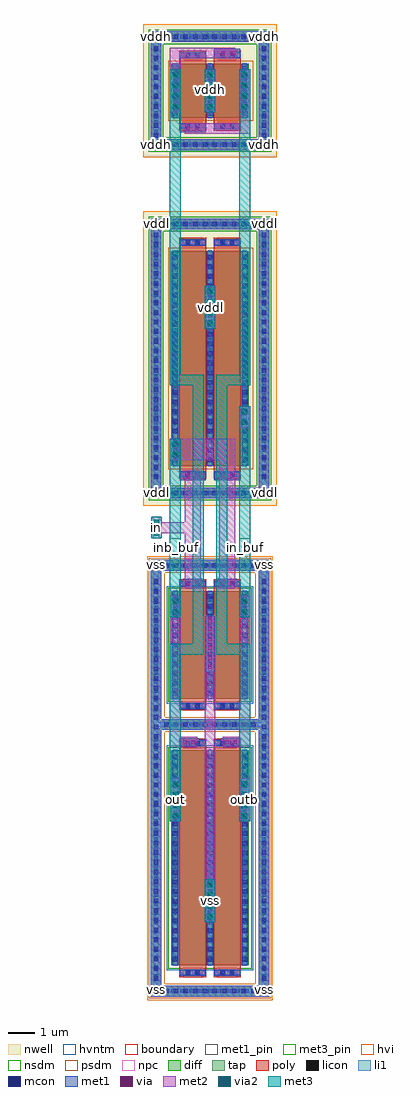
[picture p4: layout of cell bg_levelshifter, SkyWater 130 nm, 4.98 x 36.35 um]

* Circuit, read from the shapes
.subckt bg_levelshifter in in_buf inb_buf out outb vddh vddl vss
XM1 vss inb_buf out vss sky130_fd_pr__nfet_g5v0d10v5 w=8 l=1
XM2 vss in inb_buf vss sky130_fd_pr__nfet_g5v0d10v5 w=4 l=1
XM3 outb in_buf vss vss sky130_fd_pr__nfet_g5v0d10v5 w=8 l=1
XM4 in_buf inb_buf vss vss sky130_fd_pr__nfet_g5v0d10v5 w=4 l=1
XM5 vddl in inb_buf vddl sky130_fd_pr__pfet_g5v0d10v5 w=8 l=1
XM6 vddh outb out vddh sky130_fd_pr__pfet_g5v0d10v5 w=2 l=1
XM7 in_buf inb_buf vddl vddl sky130_fd_pr__pfet_g5v0d10v5 w=8 l=1
XM8 outb out vddh vddh sky130_fd_pr__pfet_g5v0d10v5 w=2 l=1
.ends

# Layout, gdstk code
from math import pi, radians
import gdstk
lib = gdstk.Library(unit=1e-6, precision=1e-09)
def R(c, l, rs):  # rectangles x0, y0, x1, y1
    for r in rs: c.add(gdstk.rectangle(r[:2], r[2:], *l))
def A(c, l, x, y, w, h, nx, ny, dx, dy):  # array of equal rectangles
    R(c, l, [(x+i*dx, y+j*dy, x+i*dx+w, y+j*dy+h) for i in range(nx) for j in range(ny)])
def P(c, l, *ps):  # polygons
    for p in ps: c.add(gdstk.Polygon(p, *l))
nwell = (64, 20)
diff = (65, 20)
tap = (65, 44)
poly = (66, 20)
licon = (66, 44)
li1 = (67, 20)
mcon = (67, 44)
met1_pin = (68, 16)
met1 = (68, 20)
via = (68, 44)
met2 = (69, 20)
via2 = (69, 44)
met3_pin = (70, 16)
met3 = (70, 20)
hvi = (75, 20)
nsdm = (93, 44)
psdm = (94, 20)
npc = (95, 20)
hvntm = (125, 20)
boundary = (235, 4)

sky130_fd_pr__nfet_g5v0d = lib.new_cell('sky130_fd_pr__nfet_g5v0d10v5_N3GJT8')
R(sky130_fd_pr__nfet_g5v0d, diff, [(0.91,1.295,3.78,9.295)])
R(sky130_fd_pr__nfet_g5v0d, tap, [(0.185,0.185,4.505,0.475), (0.185,0.475,0.475,10.115), (4.215,0.475,4.505,10.115), (0.185,10.115,4.505,10.405)])
R(sky130_fd_pr__nfet_g5v0d, poly, [(1.2,0.855,2.2,9.735), (2.49,0.855,3.49,9.735)])
A(sky130_fd_pr__nfet_g5v0d, licon, 0.9, 0.245, 0.17, 0.17, 9, 2, 0.34, 9.93)
A(sky130_fd_pr__nfet_g5v0d, licon, 0.245, 0.79, 0.17, 0.17, 1, 27, 0, 0.34)
A(sky130_fd_pr__nfet_g5v0d, licon, 4.275, 0.79, 0.17, 0.17, 1, 27, 0, 0.34)
A(sky130_fd_pr__nfet_g5v0d, licon, 0.97, 1.47, 0.17, 0.17, 3, 23, 1.29, 0.34)
R(sky130_fd_pr__nfet_g5v0d, licon, [(1.445,0.935,1.615,1.105), (1.785,0.935,1.955,1.105), (2.735,0.935,2.905,1.105), (3.075,0.935,3.245,1.105), (1.445,9.485,1.615,9.655), (1.785,9.485,1.955,9.655), (2.735,9.485,2.905,9.655), (3.075,9.485,3.245,9.655)])
A(sky130_fd_pr__nfet_g5v0d, li1, 0.97, 1.275, 0.17, 8.04, 3, 1, 1.29, 0)
R(sky130_fd_pr__nfet_g5v0d, li1, [(0.245,0.245,4.445,0.415), (0.245,0.415,0.415,10.175), (4.275,0.415,4.445,10.175), (1.2,0.935,2.2,1.105), (2.49,0.935,3.49,1.105), (1.2,9.485,2.2,9.655), (2.49,9.485,3.49,9.655), (0.245,10.175,4.445,10.345)])
A(sky130_fd_pr__nfet_g5v0d, mcon, 0.97, 1.43, 0.17, 0.17, 3, 22, 1.29, 0.36)
R(sky130_fd_pr__nfet_g5v0d, mcon, [(1.435,0.935,1.605,1.105), (1.795,0.935,1.965,1.105), (2.725,0.935,2.895,1.105), (3.085,0.935,3.255,1.105), (1.435,9.485,1.605,9.655), (1.795,9.485,1.965,9.655), (2.725,9.485,2.895,9.655), (3.085,9.485,3.255,9.655)])
A(sky130_fd_pr__nfet_g5v0d, met1, 0.94, 1.295, 0.23, 8, 3, 1, 1.29, 0)
R(sky130_fd_pr__nfet_g5v0d, met1, [(1.22,0.905,2.18,1.135), (2.51,0.905,3.47,1.135), (1.22,9.455,2.18,9.685), (2.51,9.455,3.47,9.685)])
R(sky130_fd_pr__nfet_g5v0d, hvi, [(0,0,4.69,10.59)])
R(sky130_fd_pr__nfet_g5v0d, nsdm, [(0.785,1.17,3.905,9.42)])
R(sky130_fd_pr__nfet_g5v0d, psdm, [(0.06,0.06,4.63,0.6), (0.06,0.6,0.655,9.99), (4.035,0.6,4.63,9.99), (0.06,9.99,4.63,10.53)])
R(sky130_fd_pr__nfet_g5v0d, npc, [(1.345,0.835,2.055,1.205), (2.635,0.835,3.345,1.205), (1.345,9.385,2.055,9.755), (2.635,9.385,3.345,9.755)])
R(sky130_fd_pr__nfet_g5v0d, hvntm, [(0.725,1.11,3.965,9.48)])
R(sky130_fd_pr__nfet_g5v0d, boundary, [(0.33,0.33,4.36,10.26)])

lvl_m1_m2 = lib.new_cell('lvl_m1_m2')
lvl_m1_m2.add(gdstk.Reference(sky130_fd_pr__nfet_g5v0d, (0,0)))

c_sky130_fd_pr__nfet_g5v0d = lib.new_cell('sky130_fd_pr__nfet_g5v0d10v5_6KUJGA')
R(c_sky130_fd_pr__nfet_g5v0d, diff, [(0.91,1.295,3.78,5.295)])
R(c_sky130_fd_pr__nfet_g5v0d, tap, [(0.185,0.185,4.505,0.475), (0.185,0.475,0.475,6.115), (4.215,0.475,4.505,6.115), (0.185,6.115,4.505,6.405)])
R(c_sky130_fd_pr__nfet_g5v0d, poly, [(1.2,0.855,2.2,5.735), (2.49,0.855,3.49,5.735)])
A(c_sky130_fd_pr__nfet_g5v0d, licon, 0.9, 0.245, 0.17, 0.17, 9, 2, 0.34, 5.93)
A(c_sky130_fd_pr__nfet_g5v0d, licon, 0.245, 0.83, 0.17, 0.17, 1, 15, 0, 0.34)
A(c_sky130_fd_pr__nfet_g5v0d, licon, 4.275, 0.83, 0.17, 0.17, 1, 15, 0, 0.34)
A(c_sky130_fd_pr__nfet_g5v0d, licon, 0.97, 1.51, 0.17, 0.17, 3, 11, 1.29, 0.34)
R(c_sky130_fd_pr__nfet_g5v0d, licon, [(1.445,0.935,1.615,1.105), (1.785,0.935,1.955,1.105), (2.735,0.935,2.905,1.105), (3.075,0.935,3.245,1.105), (1.445,5.485,1.615,5.655), (1.785,5.485,1.955,5.655), (2.735,5.485,2.905,5.655), (3.075,5.485,3.245,5.655)])
A(c_sky130_fd_pr__nfet_g5v0d, li1, 0.97, 1.275, 0.17, 4.04, 3, 1, 1.29, 0)
R(c_sky130_fd_pr__nfet_g5v0d, li1, [(0.245,0.245,4.445,0.415), (0.245,0.415,0.415,6.175), (4.275,0.415,4.445,6.175), (1.2,0.935,2.2,1.105), (2.49,0.935,3.49,1.105), (1.2,5.485,2.2,5.655), (2.49,5.485,3.49,5.655), (0.245,6.175,4.445,6.345)])
A(c_sky130_fd_pr__nfet_g5v0d, mcon, 0.97, 1.41, 0.17, 0.17, 3, 11, 1.29, 0.36)
R(c_sky130_fd_pr__nfet_g5v0d, mcon, [(1.435,0.935,1.605,1.105), (1.795,0.935,1.965,1.105), (2.725,0.935,2.895,1.105), (3.085,0.935,3.255,1.105), (1.435,5.485,1.605,5.655), (1.795,5.485,1.965,5.655), (2.725,5.485,2.895,5.655), (3.085,5.485,3.255,5.655)])
A(c_sky130_fd_pr__nfet_g5v0d, met1, 0.94, 1.295, 0.23, 4, 3, 1, 1.29, 0)
R(c_sky130_fd_pr__nfet_g5v0d, met1, [(1.22,0.905,2.18,1.135), (2.51,0.905,3.47,1.135), (1.22,5.455,2.18,5.685), (2.51,5.455,3.47,5.685)])
R(c_sky130_fd_pr__nfet_g5v0d, hvi, [(0,0,4.69,6.59)])
R(c_sky130_fd_pr__nfet_g5v0d, nsdm, [(0.785,1.17,3.905,5.42)])
R(c_sky130_fd_pr__nfet_g5v0d, psdm, [(0.06,0.06,4.63,0.6), (0.06,0.6,0.655,5.99), (4.035,0.6,4.63,5.99), (0.06,5.99,4.63,6.53)])
R(c_sky130_fd_pr__nfet_g5v0d, npc, [(1.345,0.835,2.055,1.205), (2.635,0.835,3.345,1.205), (1.345,5.385,2.055,5.755), (2.635,5.385,3.345,5.755)])
R(c_sky130_fd_pr__nfet_g5v0d, hvntm, [(0.725,1.11,3.965,5.48)])
R(c_sky130_fd_pr__nfet_g5v0d, boundary, [(0.33,0.33,4.36,6.26)])

lvl_mi1_mi2 = lib.new_cell('lvl_mi1_mi2')
lvl_mi1_mi2.add(gdstk.Reference(c_sky130_fd_pr__nfet_g5v0d, (0,0)))

via__li_m1 = lib.new_cell('via__LI_M1')
R(via__li_m1, li1, [(0.03,0.03,0.56,0.2)])
R(via__li_m1, mcon, [(0.03,0.03,0.2,0.2), (0.39,0.03,0.56,0.2)])
R(via__li_m1, met1, [(0,0,0.59,0.23)])

via__m1_m2 = lib.new_cell('via__M1_M2')
R(via__m1_m2, met1, [(0,0.05,0.7,0.35)])
R(via__m1_m2, via, [(0.115,0.125,0.265,0.275), (0.435,0.125,0.585,0.275)])
R(via__m1_m2, met2, [(0.05,0,0.65,0.4)])

via__m2_m3 = lib.new_cell('via__M2_M3')
R(via__m2_m3, met2, [(0,0,0.8,0.4)])
R(via__m2_m3, via2, [(0.1,0.1,0.3,0.3), (0.1,0.1,0.3,0.3), (0.5,0.1,0.7,0.3), (0.5,0.1,0.7,0.3)])
R(via__m2_m3, met3, [(0,0,0.8,0.4)])

sky130_fd_pr__pfet_g5v0d = lib.new_cell('sky130_fd_pr__pfet_g5v0d10v5_2EL6HB')
R(sky130_fd_pr__pfet_g5v0d, nwell, [(0,0,4.98,10.97)])
R(sky130_fd_pr__pfet_g5v0d, diff, [(1.055,1.485,3.925,9.485)])
R(sky130_fd_pr__pfet_g5v0d, tap, [(0.33,0.33,4.65,0.62), (0.33,0.62,0.62,10.35), (4.36,0.62,4.65,10.35), (0.33,10.35,4.65,10.64)])
R(sky130_fd_pr__pfet_g5v0d, poly, [(1.345,1,2.345,9.97), (2.635,1,3.635,9.97)])
A(sky130_fd_pr__pfet_g5v0d, licon, 1.045, 0.39, 0.17, 0.17, 9, 2, 0.34, 10.02)
A(sky130_fd_pr__pfet_g5v0d, licon, 0.39, 0.98, 0.17, 0.17, 1, 27, 0, 0.34)
A(sky130_fd_pr__pfet_g5v0d, licon, 4.42, 0.98, 0.17, 0.17, 1, 27, 0, 0.34)
A(sky130_fd_pr__pfet_g5v0d, licon, 1.115, 1.66, 0.17, 0.17, 3, 23, 1.29, 0.34)
R(sky130_fd_pr__pfet_g5v0d, licon, [(1.59,1.08,1.76,1.25), (1.93,1.08,2.1,1.25), (2.88,1.08,3.05,1.25), (3.22,1.08,3.39,1.25), (1.59,9.72,1.76,9.89), (1.93,9.72,2.1,9.89), (2.88,9.72,3.05,9.89), (3.22,9.72,3.39,9.89)])
A(sky130_fd_pr__pfet_g5v0d, li1, 1.115, 1.465, 0.17, 8.04, 3, 1, 1.29, 0)
R(sky130_fd_pr__pfet_g5v0d, li1, [(0.39,0.39,4.59,0.56), (0.39,0.56,0.56,10.41), (4.42,0.56,4.59,10.41), (1.345,1.08,2.345,1.25), (2.635,1.08,3.635,1.25), (1.345,9.72,2.345,9.89), (2.635,9.72,3.635,9.89), (0.39,10.41,4.59,10.58)])
A(sky130_fd_pr__pfet_g5v0d, mcon, 1.115, 1.62, 0.17, 0.17, 3, 22, 1.29, 0.36)
R(sky130_fd_pr__pfet_g5v0d, mcon, [(1.58,1.08,1.75,1.25), (1.94,1.08,2.11,1.25), (2.87,1.08,3.04,1.25), (3.23,1.08,3.4,1.25), (1.58,9.72,1.75,9.89), (1.94,9.72,2.11,9.89), (2.87,9.72,3.04,9.89), (3.23,9.72,3.4,9.89)])
A(sky130_fd_pr__pfet_g5v0d, met1, 1.085, 1.485, 0.23, 8, 3, 1, 1.29, 0)
R(sky130_fd_pr__pfet_g5v0d, met1, [(1.365,1.05,2.325,1.28), (2.655,1.05,3.615,1.28), (1.365,9.69,2.325,9.92), (2.655,9.69,3.615,9.92)])
R(sky130_fd_pr__pfet_g5v0d, hvi, [(0,0,4.98,10.97)])
R(sky130_fd_pr__pfet_g5v0d, nsdm, [(0.205,0.205,4.775,0.745), (0.205,0.745,0.745,10.225), (4.235,0.745,4.775,10.225), (0.205,10.225,4.775,10.765)])
R(sky130_fd_pr__pfet_g5v0d, psdm, [(0.93,1.36,4.105,9.61)])
R(sky130_fd_pr__pfet_g5v0d, npc, [(1.49,0.98,2.2,1.35), (2.78,0.98,3.49,1.35), (1.49,9.62,2.2,9.99), (2.78,9.62,3.49,9.99)])
R(sky130_fd_pr__pfet_g5v0d, boundary, [(0.475,0.475,4.505,10.495)])

lvl_mi3_mi4 = lib.new_cell('lvl_mi3_mi4')
lvl_mi3_mi4.add(gdstk.Reference(sky130_fd_pr__pfet_g5v0d, (0,0)))

c_sky130_fd_pr__pfet_g5v0d = lib.new_cell('sky130_fd_pr__pfet_g5v0d10v5_PSLN99')
R(c_sky130_fd_pr__pfet_g5v0d, nwell, [(0,0,4.98,4.97)])
R(c_sky130_fd_pr__pfet_g5v0d, diff, [(1.055,1.485,3.925,3.485)])
R(c_sky130_fd_pr__pfet_g5v0d, tap, [(0.33,0.33,4.65,0.62), (0.33,0.62,0.62,4.35), (4.36,0.62,4.65,4.35), (0.33,4.35,4.65,4.64)])
R(c_sky130_fd_pr__pfet_g5v0d, poly, [(1.345,1,2.345,3.97), (2.635,1,3.635,3.97)])
A(c_sky130_fd_pr__pfet_g5v0d, licon, 1.045, 0.39, 0.17, 0.17, 9, 2, 0.34, 4.02)
A(c_sky130_fd_pr__pfet_g5v0d, licon, 0.39, 0.87, 0.17, 0.17, 1, 10, 0, 0.34)
A(c_sky130_fd_pr__pfet_g5v0d, licon, 4.42, 0.87, 0.17, 0.17, 1, 10, 0, 0.34)
A(c_sky130_fd_pr__pfet_g5v0d, licon, 1.115, 1.55, 0.17, 0.17, 3, 6, 1.29, 0.34)
R(c_sky130_fd_pr__pfet_g5v0d, licon, [(1.59,1.08,1.76,1.25), (1.93,1.08,2.1,1.25), (2.88,1.08,3.05,1.25), (3.22,1.08,3.39,1.25), (1.59,3.72,1.76,3.89), (1.93,3.72,2.1,3.89), (2.88,3.72,3.05,3.89), (3.22,3.72,3.39,3.89)])
A(c_sky130_fd_pr__pfet_g5v0d, li1, 1.115, 1.465, 0.17, 2.04, 3, 1, 1.29, 0)
R(c_sky130_fd_pr__pfet_g5v0d, li1, [(0.39,0.39,4.59,0.56), (0.39,0.56,0.56,4.41), (4.42,0.56,4.59,4.41), (1.345,1.08,2.345,1.25), (2.635,1.08,3.635,1.25), (1.345,3.72,2.345,3.89), (2.635,3.72,3.635,3.89), (0.39,4.41,4.59,4.58)])
A(c_sky130_fd_pr__pfet_g5v0d, mcon, 1.115, 1.68, 0.17, 0.17, 3, 5, 1.29, 0.36)
R(c_sky130_fd_pr__pfet_g5v0d, mcon, [(1.58,1.08,1.75,1.25), (1.94,1.08,2.11,1.25), (2.87,1.08,3.04,1.25), (3.23,1.08,3.4,1.25), (1.58,3.72,1.75,3.89), (1.94,3.72,2.11,3.89), (2.87,3.72,3.04,3.89), (3.23,3.72,3.4,3.89)])
A(c_sky130_fd_pr__pfet_g5v0d, met1, 1.085, 1.485, 0.23, 2, 3, 1, 1.29, 0)
R(c_sky130_fd_pr__pfet_g5v0d, met1, [(1.365,1.05,2.325,1.28), (2.655,1.05,3.615,1.28), (1.365,3.69,2.325,3.92), (2.655,3.69,3.615,3.92)])
R(c_sky130_fd_pr__pfet_g5v0d, hvi, [(0,0,4.98,4.97)])
R(c_sky130_fd_pr__pfet_g5v0d, nsdm, [(0.205,0.205,4.775,0.745), (0.205,0.745,0.745,4.225), (4.235,0.745,4.775,4.225), (0.205,4.225,4.775,4.765)])
R(c_sky130_fd_pr__pfet_g5v0d, psdm, [(0.93,1.36,4.105,3.61)])
R(c_sky130_fd_pr__pfet_g5v0d, npc, [(1.49,0.98,2.2,1.35), (2.78,0.98,3.49,1.35), (1.49,3.62,2.2,3.99), (2.78,3.62,3.49,3.99)])
R(c_sky130_fd_pr__pfet_g5v0d, boundary, [(0.475,0.475,4.505,4.495)])

lvl_m3_m4 = lib.new_cell('lvl_m3_m4')
lvl_m3_m4.add(gdstk.Reference(c_sky130_fd_pr__pfet_g5v0d, (0,0)))

bg_levelshifter = lib.new_cell('bg_levelshifter')
R(bg_levelshifter, met1_pin, [(0.275,0.13,0.675,0.53), (4.305,0.13,4.705,0.53), (0.275,15.99,0.675,16.39), (4.305,15.99,4.705,16.39), (0.275,18.685,0.675,19.085), (4.305,18.685,4.705,19.085), (0.275,28.705,0.675,29.105), (4.305,28.705,4.705,29.105), (0.28,31.655,0.68,32.055), (4.305,31.655,4.705,32.055), (0.28,35.68,0.68,36.08), (4.305,35.68,4.705,36.08)])
A(bg_levelshifter, met1, 1.05, 33.12, 0.3, 1.5, 3, 1, 1.29, 0)
R(bg_levelshifter, met1, [(2.34,2.955,2.64,4.45), (1.05,6.7,1.35,8.2), (3.63,6.7,3.93,8.2), (1.365,19.36,2.325,19.69), (2.655,19.36,3.615,19.69), (2.34,25.055,2.64,26.555), (1.365,32.31,2.325,32.66), (2.655,35.07,3.615,35.42)])
R(bg_levelshifter, met2, [(2.29,2.905,2.69,14.27), (1.545,15.735,2.145,19.31), (2.835,15.735,3.435,19.31), (2.835,19.31,3.435,20.91), (1,20.11,3.435,20.91)])
P(bg_levelshifter, met2, [(2.965,9.405),(2.965,9.805),(3.58,9.805),(3.58,15.05),(3.98,15.05),(3.98,9.405)],
  [(1,9.405),(1,15.05),(1.4,15.05),(1.4,9.805),(2.015,9.805),(2.015,9.405)],
  [(1,9.405),(1,15.05),(1.4,15.05),(1.4,9.805),(2.015,9.805),(2.015,9.405)])
R(bg_levelshifter, met3_pin, [(2.29,2.905,2.69,4.505), (1,6.65,1.4,8.25), (3.58,6.65,3.98,8.25), (1,16.38,1.4,17.205), (3.58,16.38,3.98,17.205), (0.3,17.19,0.7,17.99), (2.29,25.005,2.69,26.605), (2.29,33.07,2.69,34.67)])
R(bg_levelshifter, met3, [(1,14.25,1.4,20.91), (3.58,14.25,3.98,22.12)])
bg_levelshifter.add(gdstk.FlexPath([(3.78,33.155),(3.78,32.46),(2.145,32.46)], 0.4, ends="extended", simple_path=True, layer=69, datatype=20))  # met2
bg_levelshifter.add(gdstk.FlexPath([(1.2,34.575),(1.2,35.27),(2.835,35.27)], 0.4, ends="extended", simple_path=True, layer=69, datatype=20))  # met2
bg_levelshifter.add(gdstk.FlexPath([(1.545,17.59),(0.7,17.59)], 0.4, ends="flush", simple_path=True, layer=69, datatype=20))  # met2
bg_levelshifter.add(gdstk.FlexPath([(0.475,16.19),(4.505,16.19),(4.505,10.26),(0.475,10.26),(0.475,16.19)], 0.4, ends="extended", simple_path=True, layer=68, datatype=20))  # met1
bg_levelshifter.add(gdstk.FlexPath([(0.475,10.26),(4.505,10.26),(4.505,0.33),(0.475,0.33),(0.475,10.26)], 0.4, ends="extended", simple_path=True, layer=68, datatype=20))  # met1
bg_levelshifter.add(gdstk.FlexPath([(0.475,28.905),(4.505,28.905),(4.505,18.885),(0.475,18.885),(0.475,28.905)], 0.4, ends="extended", simple_path=True, layer=68, datatype=20))  # met1
bg_levelshifter.add(gdstk.FlexPath([(0.48,35.88),(4.505,35.88),(4.505,31.855),(0.48,31.855),(0.48,35.88)], 0.4, ends="extended", simple_path=True, layer=68, datatype=20))  # met1
bg_levelshifter.add(gdstk.FlexPath([(3.78,8.25),(3.78,13.06),(2.93,13.06),(2.93,23.09),(3.78,23.09),(3.78,34.67)], 0.4, ends="flush", simple_path=True, layer=70, datatype=20))  # met3
bg_levelshifter.add(gdstk.FlexPath([(1.2,8.25),(1.2,13.06),(2.05,13.06),(2.05,23.09),(1.2,23.09),(1.2,34.67)], 0.4, ends="flush", simple_path=True, layer=70, datatype=20))  # met3
bg_levelshifter.add(gdstk.Reference(lvl_m1_m2, (0.145,0)))
bg_levelshifter.add(gdstk.Reference(lvl_mi1_mi2, (0.145,9.93)))
bg_levelshifter.add(gdstk.Reference(lvl_mi1_mi2, (0.145,9.93)))
bg_levelshifter.add(gdstk.Reference(via__li_m1, (0.75,0.215)))
bg_levelshifter.add(gdstk.Reference(via__li_m1, (1.47,0.215)))
bg_levelshifter.add(gdstk.Reference(via__li_m1, (2.19,0.215)))
bg_levelshifter.add(gdstk.Reference(via__li_m1, (2.91,0.215)))
bg_levelshifter.add(gdstk.Reference(via__li_m1, (3.63,0.215)))
bg_levelshifter.add(gdstk.Reference(via__li_m1, (0.75,10.145)))
bg_levelshifter.add(gdstk.Reference(via__li_m1, (1.47,10.145)))
bg_levelshifter.add(gdstk.Reference(via__li_m1, (2.19,10.145)))
bg_levelshifter.add(gdstk.Reference(via__li_m1, (2.91,10.145)))
bg_levelshifter.add(gdstk.Reference(via__li_m1, (3.63,10.145)))
bg_levelshifter.add(gdstk.Reference(via__li_m1, (0.75,16.075)))
bg_levelshifter.add(gdstk.Reference(via__li_m1, (1.47,16.075)))
bg_levelshifter.add(gdstk.Reference(via__li_m1, (2.19,16.075)))
bg_levelshifter.add(gdstk.Reference(via__li_m1, (2.91,16.075)))
bg_levelshifter.add(gdstk.Reference(via__li_m1, (3.63,16.075)))
bg_levelshifter.add(gdstk.Reference(via__li_m1, (0.75,18.77)))
bg_levelshifter.add(gdstk.Reference(via__li_m1, (1.47,18.77)))
bg_levelshifter.add(gdstk.Reference(via__li_m1, (2.19,18.77)))
bg_levelshifter.add(gdstk.Reference(via__li_m1, (2.91,18.77)))
bg_levelshifter.add(gdstk.Reference(via__li_m1, (3.63,18.77)))
bg_levelshifter.add(gdstk.Reference(via__li_m1, (0.75,28.79)))
bg_levelshifter.add(gdstk.Reference(via__li_m1, (1.47,28.79)))
bg_levelshifter.add(gdstk.Reference(via__li_m1, (2.19,28.79)))
bg_levelshifter.add(gdstk.Reference(via__li_m1, (2.91,28.79)))
bg_levelshifter.add(gdstk.Reference(via__li_m1, (3.63,28.79)))
bg_levelshifter.add(gdstk.Reference(via__li_m1, (0.75,31.74)))
bg_levelshifter.add(gdstk.Reference(via__li_m1, (1.47,31.74)))
bg_levelshifter.add(gdstk.Reference(via__li_m1, (2.19,31.74)))
bg_levelshifter.add(gdstk.Reference(via__li_m1, (2.91,31.74)))
bg_levelshifter.add(gdstk.Reference(via__li_m1, (3.63,31.74)))
bg_levelshifter.add(gdstk.Reference(via__li_m1, (0.75,35.76)))
bg_levelshifter.add(gdstk.Reference(via__li_m1, (1.47,35.76)))
bg_levelshifter.add(gdstk.Reference(via__li_m1, (2.19,35.76)))
bg_levelshifter.add(gdstk.Reference(via__li_m1, (2.91,35.76)))
bg_levelshifter.add(gdstk.Reference(via__li_m1, (3.63,35.76)))
bg_levelshifter.add(gdstk.Reference(via__m1_m2, (1.495,15.335)))
bg_levelshifter.add(gdstk.Reference(via__m1_m2, (2.785,15.335)))
bg_levelshifter.add(gdstk.Reference(via__m1_m2, (1.495,32.26)))
bg_levelshifter.add(gdstk.Reference(via__m1_m2, (2.065,9.805), rotation=pi))
bg_levelshifter.add(gdstk.Reference(via__m1_m2, (3.615,9.805), rotation=pi))
bg_levelshifter.add(gdstk.Reference(via__m1_m2, (3.485,35.47), rotation=pi))
bg_levelshifter.add(gdstk.Reference(via__m1_m2, (2.29,3.655), rotation=3*pi/2))
bg_levelshifter.add(gdstk.Reference(via__m1_m2, (2.29,4.455), rotation=3*pi/2))
bg_levelshifter.add(gdstk.Reference(via__m1_m2, (1,7.4), rotation=3*pi/2))
bg_levelshifter.add(gdstk.Reference(via__m1_m2, (3.58,7.4), rotation=3*pi/2))
bg_levelshifter.add(gdstk.Reference(via__m1_m2, (1,8.2), rotation=3*pi/2))
bg_levelshifter.add(gdstk.Reference(via__m1_m2, (3.58,8.2), rotation=3*pi/2))
bg_levelshifter.add(gdstk.Reference(via__m1_m2, (2.29,12.92), rotation=3*pi/2))
bg_levelshifter.add(gdstk.Reference(via__m1_m2, (2.29,13.62), rotation=3*pi/2))
bg_levelshifter.add(gdstk.Reference(via__m1_m2, (2.29,14.32), rotation=3*pi/2))
bg_levelshifter.add(gdstk.Reference(via__m1_m2, (1,15), rotation=3*pi/2))
bg_levelshifter.add(gdstk.Reference(via__m1_m2, (3.58,15), rotation=3*pi/2))
bg_levelshifter.add(gdstk.Reference(via__m1_m2, (1,20.86), rotation=3*pi/2))
bg_levelshifter.add(gdstk.Reference(via__m1_m2, (3.58,22.07), rotation=3*pi/2))
bg_levelshifter.add(gdstk.Reference(via__m1_m2, (2.29,25.755), rotation=3*pi/2))
bg_levelshifter.add(gdstk.Reference(via__m1_m2, (2.29,26.555), rotation=3*pi/2))
bg_levelshifter.add(gdstk.Reference(via__m1_m2, (1,33.82), rotation=3*pi/2))
bg_levelshifter.add(gdstk.Reference(via__m1_m2, (2.29,33.82), rotation=3*pi/2))
bg_levelshifter.add(gdstk.Reference(via__m1_m2, (3.58,33.82), rotation=3*pi/2))
bg_levelshifter.add(gdstk.Reference(via__m1_m2, (1,34.62), rotation=3*pi/2))
bg_levelshifter.add(gdstk.Reference(via__m1_m2, (2.29,34.62), rotation=3*pi/2))
bg_levelshifter.add(gdstk.Reference(via__m1_m2, (3.58,34.62), rotation=3*pi/2))
bg_levelshifter.add(gdstk.Reference(via__m2_m3, (2.29,3.705), rotation=3*pi/2))
bg_levelshifter.add(gdstk.Reference(via__m2_m3, (2.29,4.505), rotation=3*pi/2))
bg_levelshifter.add(gdstk.Reference(via__m2_m3, (1,7.45), rotation=3*pi/2))
bg_levelshifter.add(gdstk.Reference(via__m2_m3, (3.58,7.45), rotation=3*pi/2))
bg_levelshifter.add(gdstk.Reference(via__m2_m3, (1,8.25), rotation=3*pi/2))
bg_levelshifter.add(gdstk.Reference(via__m2_m3, (3.58,8.25), rotation=3*pi/2))
bg_levelshifter.add(gdstk.Reference(via__m2_m3, (1,15.05), rotation=3*pi/2))
bg_levelshifter.add(gdstk.Reference(via__m2_m3, (3.58,15.05), rotation=3*pi/2))
bg_levelshifter.add(gdstk.Reference(via__m2_m3, (0.3,17.99), rotation=3*pi/2))
bg_levelshifter.add(gdstk.Reference(via__m2_m3, (1,20.91), rotation=3*pi/2))
bg_levelshifter.add(gdstk.Reference(via__m2_m3, (3.58,22.12), rotation=3*pi/2))
bg_levelshifter.add(gdstk.Reference(via__m2_m3, (2.29,25.805), rotation=3*pi/2))
bg_levelshifter.add(gdstk.Reference(via__m2_m3, (2.29,26.605), rotation=3*pi/2))
bg_levelshifter.add(gdstk.Reference(via__m2_m3, (1,33.87), rotation=3*pi/2))
bg_levelshifter.add(gdstk.Reference(via__m2_m3, (2.29,33.87), rotation=3*pi/2))
bg_levelshifter.add(gdstk.Reference(via__m2_m3, (3.58,33.87), rotation=3*pi/2))
bg_levelshifter.add(gdstk.Reference(via__m2_m3, (1,34.67), rotation=3*pi/2))
bg_levelshifter.add(gdstk.Reference(via__m2_m3, (2.29,34.67), rotation=3*pi/2))
bg_levelshifter.add(gdstk.Reference(via__m2_m3, (3.58,34.67), rotation=3*pi/2))
bg_levelshifter.add(gdstk.Reference(via__m1_m2, (1.495,19.71), x_reflection=True))
bg_levelshifter.add(gdstk.Reference(via__m1_m2, (2.785,19.71), x_reflection=True))
bg_levelshifter.add(gdstk.Reference(lvl_mi3_mi4, (0,18.41)))
bg_levelshifter.add(gdstk.Reference(via__li_m1, (0.36,1.285), rotation=3*pi/2))
bg_levelshifter.add(gdstk.Reference(via__li_m1, (4.39,1.285), rotation=3*pi/2))
bg_levelshifter.add(gdstk.Reference(via__li_m1, (0.36,2.005), rotation=3*pi/2))
bg_levelshifter.add(gdstk.Reference(via__li_m1, (4.39,2.005), rotation=3*pi/2))
bg_levelshifter.add(gdstk.Reference(via__li_m1, (0.36,2.725), rotation=3*pi/2))
bg_levelshifter.add(gdstk.Reference(via__li_m1, (4.39,2.725), rotation=3*pi/2))
bg_levelshifter.add(gdstk.Reference(via__li_m1, (0.36,3.445), rotation=3*pi/2))
bg_levelshifter.add(gdstk.Reference(via__li_m1, (4.39,3.445), rotation=3*pi/2))
bg_levelshifter.add(gdstk.Reference(via__li_m1, (0.36,4.165), rotation=3*pi/2))
bg_levelshifter.add(gdstk.Reference(via__li_m1, (4.39,4.165), rotation=3*pi/2))
bg_levelshifter.add(gdstk.Reference(via__li_m1, (0.36,4.885), rotation=3*pi/2))
bg_levelshifter.add(gdstk.Reference(via__li_m1, (4.39,4.885), rotation=3*pi/2))
bg_levelshifter.add(gdstk.Reference(via__li_m1, (0.36,5.605), rotation=3*pi/2))
bg_levelshifter.add(gdstk.Reference(via__li_m1, (4.39,5.605), rotation=3*pi/2))
bg_levelshifter.add(gdstk.Reference(via__li_m1, (0.36,6.325), rotation=3*pi/2))
bg_levelshifter.add(gdstk.Reference(via__li_m1, (4.39,6.325), rotation=3*pi/2))
bg_levelshifter.add(gdstk.Reference(via__li_m1, (0.36,7.045), rotation=3*pi/2))
bg_levelshifter.add(gdstk.Reference(via__li_m1, (4.39,7.045), rotation=3*pi/2))
bg_levelshifter.add(gdstk.Reference(via__li_m1, (0.36,7.765), rotation=3*pi/2))
bg_levelshifter.add(gdstk.Reference(via__li_m1, (4.39,7.765), rotation=3*pi/2))
bg_levelshifter.add(gdstk.Reference(via__li_m1, (0.36,8.485), rotation=3*pi/2))
bg_levelshifter.add(gdstk.Reference(via__li_m1, (4.39,8.485), rotation=3*pi/2))
bg_levelshifter.add(gdstk.Reference(via__li_m1, (0.36,9.205), rotation=3*pi/2))
bg_levelshifter.add(gdstk.Reference(via__li_m1, (4.39,9.205), rotation=3*pi/2))
bg_levelshifter.add(gdstk.Reference(via__li_m1, (0.36,9.925), rotation=3*pi/2))
bg_levelshifter.add(gdstk.Reference(via__li_m1, (4.39,9.925), rotation=3*pi/2))
bg_levelshifter.add(gdstk.Reference(via__li_m1, (0.36,10.645), rotation=3*pi/2))
bg_levelshifter.add(gdstk.Reference(via__li_m1, (4.39,10.645), rotation=3*pi/2))
bg_levelshifter.add(gdstk.Reference(via__li_m1, (0.36,11.365), rotation=3*pi/2))
bg_levelshifter.add(gdstk.Reference(via__li_m1, (4.39,11.365), rotation=3*pi/2))
bg_levelshifter.add(gdstk.Reference(via__li_m1, (0.36,12.085), rotation=3*pi/2))
bg_levelshifter.add(gdstk.Reference(via__li_m1, (4.39,12.085), rotation=3*pi/2))
bg_levelshifter.add(gdstk.Reference(via__li_m1, (0.36,12.805), rotation=3*pi/2))
bg_levelshifter.add(gdstk.Reference(via__li_m1, (4.39,12.805), rotation=3*pi/2))
bg_levelshifter.add(gdstk.Reference(via__li_m1, (0.36,13.525), rotation=3*pi/2))
bg_levelshifter.add(gdstk.Reference(via__li_m1, (4.39,13.525), rotation=3*pi/2))
bg_levelshifter.add(gdstk.Reference(via__li_m1, (0.36,14.245), rotation=3*pi/2))
bg_levelshifter.add(gdstk.Reference(via__li_m1, (4.39,14.245), rotation=3*pi/2))
bg_levelshifter.add(gdstk.Reference(via__li_m1, (0.36,14.965), rotation=3*pi/2))
bg_levelshifter.add(gdstk.Reference(via__li_m1, (4.39,14.965), rotation=3*pi/2))
bg_levelshifter.add(gdstk.Reference(via__li_m1, (0.36,15.685), rotation=3*pi/2))
bg_levelshifter.add(gdstk.Reference(via__li_m1, (4.39,15.685), rotation=3*pi/2))
bg_levelshifter.add(gdstk.Reference(via__li_m1, (0.36,19.965), rotation=3*pi/2))
bg_levelshifter.add(gdstk.Reference(via__li_m1, (4.39,19.965), rotation=3*pi/2))
bg_levelshifter.add(gdstk.Reference(via__li_m1, (0.36,20.685), rotation=3*pi/2))
bg_levelshifter.add(gdstk.Reference(via__li_m1, (4.39,20.685), rotation=3*pi/2))
bg_levelshifter.add(gdstk.Reference(via__li_m1, (0.36,21.405), rotation=3*pi/2))
bg_levelshifter.add(gdstk.Reference(via__li_m1, (4.39,21.405), rotation=3*pi/2))
bg_levelshifter.add(gdstk.Reference(via__li_m1, (0.36,22.125), rotation=3*pi/2))
bg_levelshifter.add(gdstk.Reference(via__li_m1, (4.39,22.125), rotation=3*pi/2))
bg_levelshifter.add(gdstk.Reference(via__li_m1, (0.36,22.845), rotation=3*pi/2))
bg_levelshifter.add(gdstk.Reference(via__li_m1, (4.39,22.845), rotation=3*pi/2))
bg_levelshifter.add(gdstk.Reference(via__li_m1, (0.36,23.565), rotation=3*pi/2))
bg_levelshifter.add(gdstk.Reference(via__li_m1, (4.39,23.565), rotation=3*pi/2))
bg_levelshifter.add(gdstk.Reference(via__li_m1, (0.36,24.285), rotation=3*pi/2))
bg_levelshifter.add(gdstk.Reference(via__li_m1, (4.39,24.285), rotation=3*pi/2))
bg_levelshifter.add(gdstk.Reference(via__li_m1, (0.36,25.005), rotation=3*pi/2))
bg_levelshifter.add(gdstk.Reference(via__li_m1, (4.39,25.005), rotation=3*pi/2))
bg_levelshifter.add(gdstk.Reference(via__li_m1, (0.36,25.725), rotation=3*pi/2))
bg_levelshifter.add(gdstk.Reference(via__li_m1, (4.39,25.725), rotation=3*pi/2))
bg_levelshifter.add(gdstk.Reference(via__li_m1, (0.36,26.445), rotation=3*pi/2))
bg_levelshifter.add(gdstk.Reference(via__li_m1, (4.39,26.445), rotation=3*pi/2))
bg_levelshifter.add(gdstk.Reference(via__li_m1, (0.36,27.165), rotation=3*pi/2))
bg_levelshifter.add(gdstk.Reference(via__li_m1, (4.39,27.165), rotation=3*pi/2))
bg_levelshifter.add(gdstk.Reference(via__li_m1, (0.36,27.885), rotation=3*pi/2))
bg_levelshifter.add(gdstk.Reference(via__li_m1, (4.39,27.885), rotation=3*pi/2))
bg_levelshifter.add(gdstk.Reference(via__li_m1, (0.36,28.605), rotation=3*pi/2))
bg_levelshifter.add(gdstk.Reference(via__li_m1, (4.39,28.605), rotation=3*pi/2))
bg_levelshifter.add(gdstk.Reference(via__li_m1, (0.36,32.68), rotation=3*pi/2))
bg_levelshifter.add(gdstk.Reference(via__li_m1, (4.39,32.68), rotation=3*pi/2))
bg_levelshifter.add(gdstk.Reference(via__li_m1, (0.36,33.4), rotation=3*pi/2))
bg_levelshifter.add(gdstk.Reference(via__li_m1, (4.39,33.4), rotation=3*pi/2))
bg_levelshifter.add(gdstk.Reference(via__li_m1, (0.36,34.12), rotation=3*pi/2))
bg_levelshifter.add(gdstk.Reference(via__li_m1, (4.39,34.12), rotation=3*pi/2))
bg_levelshifter.add(gdstk.Reference(via__li_m1, (0.36,34.84), rotation=3*pi/2))
bg_levelshifter.add(gdstk.Reference(via__li_m1, (4.39,34.84), rotation=3*pi/2))
bg_levelshifter.add(gdstk.Reference(via__li_m1, (0.36,35.56), rotation=3*pi/2))
bg_levelshifter.add(gdstk.Reference(via__li_m1, (4.39,35.56), rotation=3*pi/2))
bg_levelshifter.add(gdstk.Reference(lvl_m3_m4, (0,31.38)))
bg_levelshifter.add(gdstk.Label('vddl', (0.48,18.915), layer=68, texttype=20))
bg_levelshifter.add(gdstk.Label('vddl', (4.51,18.915), layer=68, texttype=20))
bg_levelshifter.add(gdstk.Label('vddl', (0.48,28.935), layer=68, texttype=20))
bg_levelshifter.add(gdstk.Label('vddl', (4.51,28.935), layer=68, texttype=20))
bg_levelshifter.add(gdstk.Label('vss', (0.485,0.375), layer=68, texttype=5))
bg_levelshifter.add(gdstk.Label('vss', (4.515,0.375), layer=68, texttype=5))
bg_levelshifter.add(gdstk.Label('vss', (0.485,16.235), layer=68, texttype=5))
bg_levelshifter.add(gdstk.Label('vss', (4.515,16.235), layer=68, texttype=5))
bg_levelshifter.add(gdstk.Label('vddh', (0.48,31.855), layer=68, texttype=5))
bg_levelshifter.add(gdstk.Label('vddh', (4.505,31.855), layer=68, texttype=5))
bg_levelshifter.add(gdstk.Label('vddh', (0.48,35.88), layer=68, texttype=5))
bg_levelshifter.add(gdstk.Label('vddh', (4.505,35.88), layer=68, texttype=5))
bg_levelshifter.add(gdstk.Label('vddh', (2.495,33.915), layer=70, texttype=5))
bg_levelshifter.add(gdstk.Label('vss', (2.495,3.705), layer=70, texttype=5))
bg_levelshifter.add(gdstk.Label('out', (1.2,7.45), layer=70, texttype=5))
bg_levelshifter.add(gdstk.Label('outb', (3.78,7.45), layer=70, texttype=5))
bg_levelshifter.add(gdstk.Label('inb_buf', (1.23,16.838), layer=70, texttype=5))
bg_levelshifter.add(gdstk.Label('vddl', (2.495,25.805), layer=70, texttype=5))
bg_levelshifter.add(gdstk.Label('in_buf', (3.81,16.838), layer=70, texttype=5))
bg_levelshifter.add(gdstk.Label('in', (0.505,17.59), layer=70, texttype=5))

lib.write_gds('bg_levelshifter.gds')
